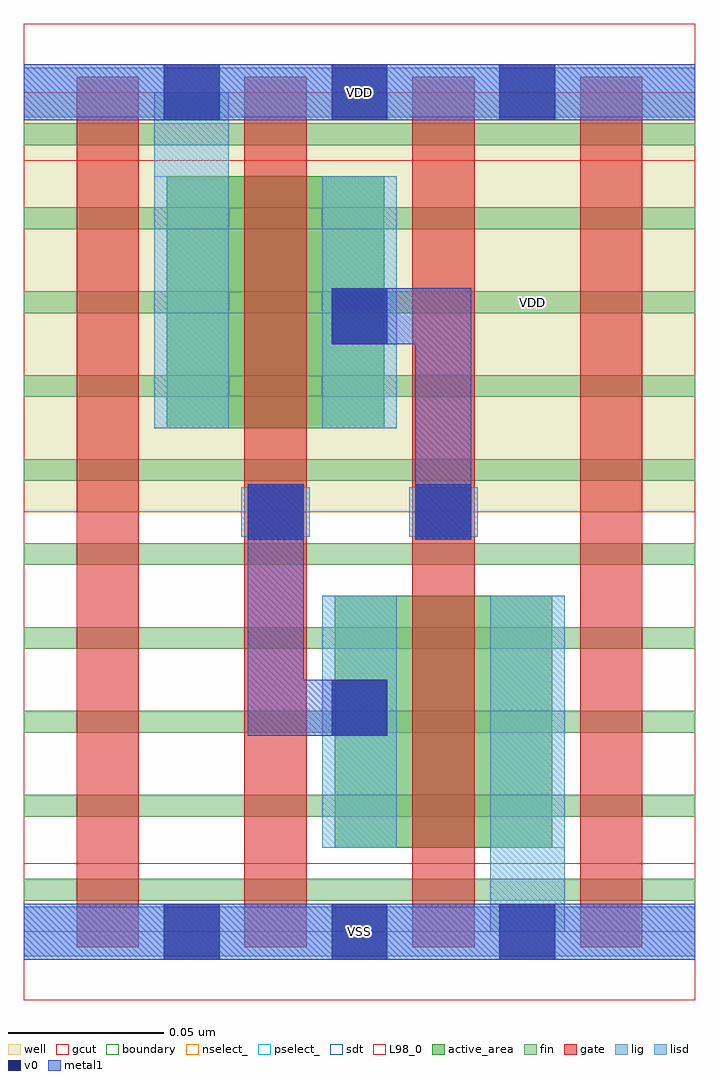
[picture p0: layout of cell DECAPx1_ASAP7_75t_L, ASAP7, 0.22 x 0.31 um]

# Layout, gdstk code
import gdstk
lib = gdstk.Library(unit=1e-6, precision=2.5e-10)
def R(c, l, rs):  # rectangles x0, y0, x1, y1
    for r in rs: c.add(gdstk.rectangle(r[:2], r[2:], *l))
def A(c, l, x, y, w, h, nx, ny, dx, dy):  # array of equal rectangles
    R(c, l, [(x+i*dx, y+j*dy, x+i*dx+w, y+j*dy+h) for i in range(nx) for j in range(ny)])
def P(c, l, *ps):  # polygons
    for p in ps: c.add(gdstk.Polygon(p, *l))
well = (1, 0)
fin = (2, 0)
gate = (7, 0)
gcut = (10, 0)
active_area = (11, 0)
nselect_ = (12, 0)
pselect_ = (13, 0)
lig = (16, 0)
lisd = (17, 0)
v0 = (18, 0)
metal1 = (19, 0)
sdt = (88, 0)
L98_0 = (98, 0)
boundary = (100, 0)

decapx1_asap7_75t_l = lib.new_cell('DECAPx1_ASAP7_75t_L')
R(decapx1_asap7_75t_l, well, [(0,0.135,0.216,0.27)])
A(decapx1_asap7_75t_l, fin, 0, 0.01, 0.216, 0.007, 1, 10, 0, 0.027)
A(decapx1_asap7_75t_l, gate, 0.017, -0.005, 0.02, 0.28, 4, 1, 0.054, 0)
R(decapx1_asap7_75t_l, gcut, [(0,-0.022,0.216,0.022), (0,0.248,0.216,0.292)])
R(decapx1_asap7_75t_l, active_area, [(0.1,0.027,0.17,0.108), (0.046,0.162,0.116,0.243)])
R(decapx1_asap7_75t_l, nselect_, [(0,0,0.216,0.135)])
R(decapx1_asap7_75t_l, pselect_, [(0,0.135,0.216,0.27)])
R(decapx1_asap7_75t_l, lig, [(0,-0.008,0.216,0.008), (0.07,0.127,0.092,0.143), (0.124,0.127,0.146,0.143), (0,0.262,0.216,0.278)])
R(decapx1_asap7_75t_l, lisd, [(0.15,0,0.174,0.108), (0.096,0.027,0.12,0.108), (0.042,0.162,0.066,0.27), (0.096,0.162,0.12,0.243)])
A(decapx1_asap7_75t_l, v0, 0.045, -0.009, 0.018, 0.018, 3, 2, 0.054, 0.27)
R(decapx1_asap7_75t_l, v0, [(0.099,0.063,0.117,0.081), (0.072,0.126,0.09,0.144), (0.126,0.126,0.144,0.144), (0.099,0.189,0.117,0.207)])
R(decapx1_asap7_75t_l, metal1, [(0,-0.009,0.216,0.009), (0,0.261,0.216,0.279)])
P(decapx1_asap7_75t_l, metal1, [(0.117,0.081),(0.09,0.081),(0.09,0.144),(0.072,0.144),(0.072,0.063),(0.117,0.063)],
  [(0.099,0.207),(0.099,0.189),(0.126,0.189),(0.126,0.126),(0.144,0.126),(0.144,0.207)])
R(decapx1_asap7_75t_l, sdt, [(0.096,0.027,0.12,0.108), (0.15,0.027,0.174,0.108), (0.042,0.162,0.066,0.243), (0.096,0.162,0.12,0.243)])
R(decapx1_asap7_75t_l, L98_0, [(0,0,0.216,0.27)])
R(decapx1_asap7_75t_l, boundary, [(0,0,0.216,0.27)])
decapx1_asap7_75t_l.add(gdstk.Label('VSS', (0.108,0), layer=19, texttype=251))
decapx1_asap7_75t_l.add(gdstk.Label('VDD', (0.108,0.27), layer=19, texttype=251))
decapx1_asap7_75t_l.add(gdstk.Label('VDD', (0.1635,0.2025), layer=1, texttype=251))
decapx1_asap7_75t_l.add(gdstk.Label('VSS', (0.2665,0.2025), layer=3, texttype=251))

lib.write_gds('DECAPx1_ASAP7_75t_L.gds')
